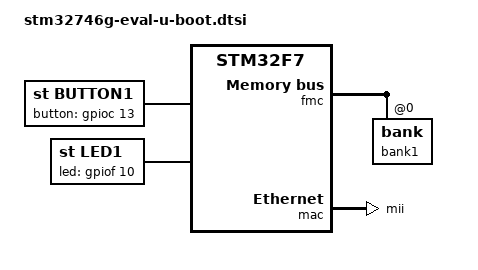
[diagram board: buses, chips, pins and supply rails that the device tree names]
// SPDX-License-Identifier: GPL-2.0+

#include <stm32f7-u-boot.dtsi>
/{
	chosen {
		bootargs = "root=/dev/mmcblk0p1 rw rootwait";
	};

	aliases {
		/* Aliases for gpios so as to use sequence */
		gpio0 = &gpioa;
		gpio1 = &gpiob;
		gpio2 = &gpioc;
		gpio3 = &gpiod;
		gpio4 = &gpioe;
		gpio5 = &gpiof;
		gpio6 = &gpiog;
		gpio7 = &gpioh;
		gpio8 = &gpioi;
		gpio9 = &gpioj;
		gpio10 = &gpiok;
		mmc0 = &sdio;
		spi0 = &qspi;
	};

	button1 {
		compatible = "st,button1";
		button-gpio = <&gpioc 13 0>;
	};

	led1 {
		compatible = "st,led1";
		led-gpio = <&gpiof 10 0>;
	};
};

&fmc {
	/*
	 * Memory configuration from sdram datasheet IS42S32800G-6BLI
	 */
	bank1: bank@0 {
		u-boot,dm-pre-reloc;
		st,sdram-control = /bits/ 8 <NO_COL_9
					     NO_ROW_12
					     MWIDTH_32
					     BANKS_4
					     CAS_2
					     SDCLK_3
					     RD_BURST_EN
					     RD_PIPE_DL_0>;
		st,sdram-timing = /bits/ 8 <TMRD_1
					    TXSR_1
					    TRAS_1
					    TRC_6
					    TRP_2
					    TWR_1
					    TRCD_1>;
		st,sdram-refcount = <1539>;
	};
};

&mac {
	phy-mode = "mii";
};

&pinctrl {
	ethernet_mii: mii@0 {
		pins {
			pinmux = <STM32F746_PG13_FUNC_ETH_MII_TXD0_ETH_RMII_TXD0>,
				 <STM32F746_PG14_FUNC_ETH_MII_TXD1_ETH_RMII_TXD1>,
				 <STM32F746_PG11_FUNC_ETH_MII_TX_EN_ETH_RMII_TX_EN>,
				 <STM32F746_PA2_FUNC_ETH_MDIO>,
				 <STM32F746_PC1_FUNC_ETH_MDC>,
				 <STM32F746_PA1_FUNC_ETH_MII_RX_CLK_ETH_RMII_REF_CLK>,
				 <STM32F746_PA7_FUNC_ETH_MII_RX_DV_ETH_RMII_CRS_DV>,
				 <STM32F746_PC4_FUNC_ETH_MII_RXD0_ETH_RMII_RXD0>,
				<STM32F746_PC5_FUNC_ETH_MII_RXD1_ETH_RMII_RXD1>;
			slew-rate = <2>;
		};
	};

	fmc_pins: fmc@0 {
		pins {
			pinmux = <STM32F746_PI10_FUNC_FMC_D31>, /* FMC_D31 */
				 <STM32F746_PI9_FUNC_FMC_D30>,  /* FMC_D30*/
				 <STM32F746_PI7_FUNC_FMC_D29>,  /* FMC_D29 */
				 <STM32F746_PI6_FUNC_FMC_D28>,  /* FMC_D28 */
				 <STM32F746_PI3_FUNC_FMC_D27>,  /* FMC_D27 */
				 <STM32F746_PI2_FUNC_FMC_D26>,  /* FMC_D26 */
				 <STM32F746_PI1_FUNC_FMC_D25>,  /* FMC_D25 */
				 <STM32F746_PI0_FUNC_FMC_D24>,  /* FMC_D24 */
				 <STM32F746_PH15_FUNC_FMC_D23>, /* FMC_D23 */
				 <STM32F746_PH14_FUNC_FMC_D22>, /* FMC_D22 */
				 <STM32F746_PH13_FUNC_FMC_D21>, /* FMC_D21 */
				 <STM32F746_PH12_FUNC_FMC_D20>, /* FMC_D20 */
				 <STM32F746_PH11_FUNC_FMC_D19>, /* FMC_D19 */
				 <STM32F746_PH10_FUNC_FMC_D18>, /* FMC_D18 */
				 <STM32F746_PH9_FUNC_FMC_D17>,  /* FMC_D17 */
				 <STM32F746_PH8_FUNC_FMC_D16>,  /* FMC_D16 */

				 <STM32F746_PD10_FUNC_FMC_D15>, /* FMC_D15 */
				 <STM32F746_PD9_FUNC_FMC_D14>, /* FMC_D14*/
				 <STM32F746_PD8_FUNC_FMC_D13>, /* FMC_D13 */
				 <STM32F746_PE15_FUNC_FMC_D12>,/* FMC_D12 */
				 <STM32F746_PE14_FUNC_FMC_D11>,/* FMC_D11 */
				 <STM32F746_PE13_FUNC_FMC_D10>,/* FMC_D10 */
				 <STM32F746_PE12_FUNC_FMC_D9>, /* FMC_D9 */
				 <STM32F746_PE11_FUNC_FMC_D8>, /* FMC_D8 */
				 <STM32F746_PE10_FUNC_FMC_D7>, /* FMC_D7 */
				 <STM32F746_PE9_FUNC_FMC_D6>,  /* FMC_D6 */
				 <STM32F746_PE8_FUNC_FMC_D5>,  /* FMC_D5*/
				 <STM32F746_PE7_FUNC_FMC_D4>,  /* FMC_D4 */
				 <STM32F746_PD1_FUNC_FMC_D3>,  /* FMC_D3 */
				 <STM32F746_PD0_FUNC_FMC_D2>,  /* FMC_D2 */
				 <STM32F746_PD15_FUNC_FMC_D1>, /* FMC_D1 */
				 <STM32F746_PD14_FUNC_FMC_D0>, /* FMC_D0 */

				 <STM32F746_PI5_FUNC_FMC_NBL3>, /* FMC_NBL3 */
				 <STM32F746_PI4_FUNC_FMC_NBL2>, /* FMC_NBL2 */
				 <STM32F746_PE1_FUNC_FMC_NBL1>, /* FMC_NBL1 */
				 <STM32F746_PE0_FUNC_FMC_NBL0>, /* FMC_NBL0 */

				 <STM32F746_PG5_FUNC_FMC_A15_FMC_BA1>, /* FMC_A15 FMC_BA1 */
				 <STM32F746_PG4_FUNC_FMC_A14_FMC_BA0>, /* FMC_A14 FMC_BA0*/

				 <STM32F746_PG1_FUNC_FMC_A11>, /* FMC_A11 */
				 <STM32F746_PG0_FUNC_FMC_A10>, /* FMC_A10 */
				 <STM32F746_PF15_FUNC_FMC_A9>, /* FMC_A9 */
				 <STM32F746_PF14_FUNC_FMC_A8>, /* FMC_A8 */
				 <STM32F746_PF13_FUNC_FMC_A7>, /* FMC_A7 */
				 <STM32F746_PF12_FUNC_FMC_A6>, /* FMC_A6 */
				 <STM32F746_PF5_FUNC_FMC_A5>,  /* FUNC_FMC_A5 */
				 <STM32F746_PF4_FUNC_FMC_A4>,  /* FMC_A4 */
				 <STM32F746_PF3_FUNC_FMC_A3>,  /* FMC_A3 */
				 <STM32F746_PF2_FUNC_FMC_A2>,  /* FMC_A2 */
				 <STM32F746_PF1_FUNC_FMC_A1>,  /* FMC_A1 */
				 <STM32F746_PF0_FUNC_FMC_A0>,  /* FMC_A0 */

				 <STM32F746_PH3_FUNC_FMC_SDNE0>,/* FMC_SDNE0 */
				 <STM32F746_PH5_FUNC_FMC_SDNWE>, /* FMC_SDNWE */
				 <STM32F746_PF11_FUNC_FMC_SDNRAS>, /* FMC_SDNRAS */
				 <STM32F746_PG15_FUNC_FMC_SDNCAS>, /* FMC_SDNCAS */
				 <STM32F746_PH2_FUNC_FMC_SDCKE0>, /* FMC_SDCKE0 */
				 <STM32F746_PG8_FUNC_FMC_SDCLK>; /* FMC_SDCLK */
			slew-rate = <2>;
		};
	};

	qspi_pins: qspi@0 {
		pins {
			pinmux = <STM32F746_PB2_FUNC_QUADSPI_CLK>,
				 <STM32F746_PB6_FUNC_QUADSPI_BK1_NCS>,
				 <STM32F746_PF8_FUNC_QUADSPI_BK1_IO0>,
				 <STM32F746_PF9_FUNC_QUADSPI_BK1_IO1>,
				 <STM32F746_PF6_FUNC_QUADSPI_BK1_IO3>,
				 <STM32F746_PF7_FUNC_QUADSPI_BK1_IO2>;
			slew-rate = <2>;
		};
	};
};

&qspi {
	qflash0: n25q512a {
		#address-cells = <1>;
		#size-cells = <1>;
		spi-max-frequency = <108000000>;
		spi-tx-bus-width = <1>;
		spi-rx-bus-width = <1>;
		reg = <0>;
	};
};
